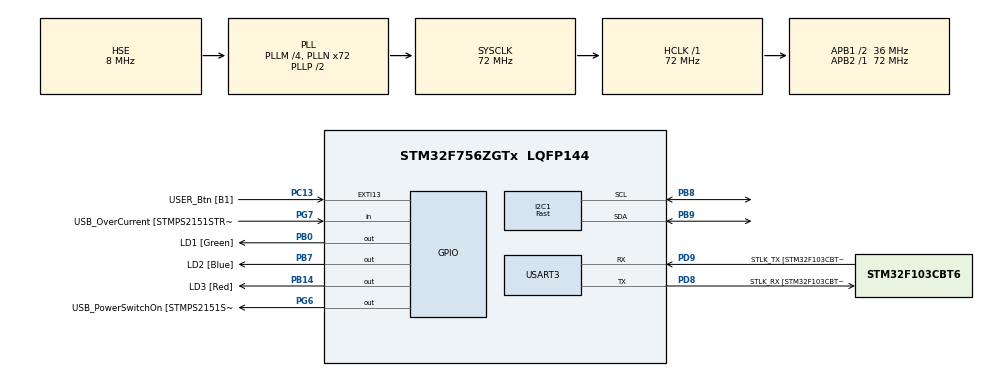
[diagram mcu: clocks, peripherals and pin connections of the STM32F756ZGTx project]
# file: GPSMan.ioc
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CORTEX_M7.default_mode_Activation=1
I2C1.Analog_Filter=I2C_ANALOGFILTER_ENABLE
I2C1.I2C_Speed_Mode=I2C_Fast
I2C1.OwnAddress=0x55
I2C1.Timing=0x00301739
Mcu.Family=STM32F7
Mcu.Name=STM32F756ZGTx
Mcu.Package=LQFP144
NVIC.I2C1_ER_IRQn=true\:0\:0\:false\:false\:true\:true\:true\:true
NVIC.I2C1_EV_IRQn=true\:0\:0\:false\:false\:true\:true\:true\:true
NVIC.PriorityGroup=NVIC_PRIORITYGROUP_4
PA1.GPIO_Label=RMII_REF_CLK [LAN8742A-CZ-TR_REFCLK0]
PA1.Signal=ETH_REF_CLK
PA10.GPIO_Label=USB_ID
PA10.Signal=USB_OTG_FS_ID
PA11.GPIO_Label=USB_DM
PA11.Signal=USB_OTG_FS_DM
PA12.GPIO_Label=USB_DP
PA12.Signal=USB_OTG_FS_DP
PA13.GPIO_Label=TMS
PA13.Mode=Serial_Wire
PA13.Signal=SYS_JTMS-SWDIO
PA14.GPIO_Label=TCK
PA14.Mode=Serial_Wire
PA14.Signal=SYS_JTCK-SWCLK
PA2.GPIO_Label=RMII_MDIO [LAN8742A-CZ-TR_MDIO]
PA2.Signal=ETH_MDIO
PA7.GPIO_Label=RMII_CRS_DV [LAN8742A-CZ-TR_CRS_DV]
PA7.Signal=ETH_CRS_DV
PA8.GPIO_Label=USB_SOF [TP1]
PA8.Signal=USB_OTG_FS_SOF
PA9.GPIO_Label=USB_VBUS
PA9.Signal=USB_OTG_FS_VBUS
PB0.GPIO_Label=LD1 [Green]
PB0.Signal=GPIO_Output
PB13.GPIO_Label=RMII_TXD1 [LAN8742A-CZ-TR_TXD1]
PB13.Signal=ETH_TXD1
PB14.GPIO_Label=LD3 [Red]
PB14.Signal=GPIO_Output
PB3.GPIO_Label=SW0
PB3.Signal=SYS_JTDO-SWO
PB7.GPIO_Label=LD2 [Blue]
PB7.Signal=GPIO_Output
PB8.GPIO_Pu=GPIO_PULLUP
PB8.GPIO_Speed=GPIO_SPEED_FREQ_VERY_HIGH
PB8.Mode=I2C
PB8.Signal=I2C1_SCL
PB9.GPIO_Pu=GPIO_PULLUP
PB9.GPIO_Speed=GPIO_SPEED_FREQ_VERY_HIGH
PB9.Mode=I2C
PB9.Signal=I2C1_SDA
PC1.GPIO_Label=RMII_MDC [LAN8742A-CZ-TR_MDC]
PC1.Signal=ETH_MDC
PC13.GPIO_Label=USER_Btn [B1]
PC13.Signal=GPXTI13
PC14/OSC32_IN.Mode=LSE-External-Oscillator
PC14/OSC32_IN.Signal=RCC_OSC32_IN
PC15/OSC32_OUT.Mode=LSE-External-Oscillator
PC15/OSC32_OUT.Signal=RCC_OSC32_OUT
PC4.GPIO_Label=RMII_RXD0 [LAN8742A-CZ-TR_RXD0]
PC4.Signal=ETH_RXD0
PC5.GPIO_Label=RMII_RXD1 [LAN8742A-CZ-TR_RXD1]
PC5.Signal=ETH_RXD1
PD8.GPIO_Label=STLK_RX [STM32F103CBT6_PA3]
PD8.Mode=Asynchronous
PD8.Signal=USART3_TX
PD9.GPIO_Label=STLK_TX [STM32F103CBT6_PA2]
PD9.Mode=Asynchronous
PD9.Signal=USART3_RX
PG11.GPIO_Label=RMII_TX_EN [LAN8742A-CZ-TR_TXEN]
PG11.Signal=ETH_TX_EN
PG13.GPIO_Label=RMII_TXD0 [LAN8742A-CZ-TR_TXD0]
PG13.Signal=ETH_TXD0
PG6.GPIO_Label=USB_PowerSwitchOn [STMPS2151STR_EN]
PG6.Signal=GPIO_Output
PG7.GPIO_Label=USB_OverCurrent [STMPS2151STR_FAULT]
PG7.Signal=GPIO_Input
PH0/OSC_IN.GPIO_Label=MCO [STM32F103CBT6_PA8]
PH0/OSC_IN.Mode=HSE-External-Clock-Source
PH0/OSC_IN.Signal=RCC_OSC_IN
PH1/OSC_OUT.Mode=HSE-External-Clock-Source
PH1/OSC_OUT.Signal=RCC_OSC_OUT
ProjectManager.HeapSize=0x200
ProjectManager.StackSize=0x400
ProjectManager.TargetToolchain=STM32CubeIDE
RCC.48MHZClocksFreq_Value=24000000
RCC.AHBFreq_Value=72000000
RCC.APB1CLKDivider=RCC_HCLK_DIV2
RCC.APB1Freq_Value=36000000
RCC.APB1TimFreq_Value=72000000
RCC.APB2Freq_Value=72000000
RCC.APB2TimFreq_Value=72000000
RCC.CortexFreq_Value=72000000
RCC.HCLKFreq_Value=72000000
RCC.HSE_VALUE=8000000
RCC.HSI_VALUE=16000000
RCC.PLLM=4
RCC.PLLMUL=RCC_PLL_MUL9
RCC.PLLN=72
RCC.PLLQ=3
RCC.PLLSourceVirtual=RCC_PLLSOURCE_HSE
RCC.PRESCALERUSB=RCC_USBCLKSOURCE_PLL_DIV1_5
RCC.RTCClockSelection=RCC_RTCCLKSOURCE_LSE
RCC.SYSCLKFreq_VALUE=72000000
RCC.SYSCLKSource=RCC_SYSCLKSOURCE_PLLCLK
RCC.SYSCLKSourceVirtual=RCC_SYSCLKSOURCE_PLLCLK
RCC.USBFreq_Value=48000000
RCC.VCOOutputFreq_Value=144000000
USART3.VirtualMode-Asynchronous=VM_ASYNC
VP_RTC_VS_RTC_Activate.Mode=RTC_Enabled
board=NUCLEO-F756ZG

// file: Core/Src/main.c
/* USER CODE BEGIN Header */
/**
  ******************************************************************************
  * @file           : main.c
  * @brief          : Main program body
  ******************************************************************************
  * @attention
  *
  * Copyright (c) 2026 STMicroelectronics.
  * All rights reserved.
  *
  * This software is licensed under terms that can be found in the LICENSE file
  * in the root directory of this software component.
  * If no LICENSE file comes with this software, it is provided AS-IS.
  *
  ******************************************************************************
  */
/* USER CODE END Header */
#include "main.h"
#include "i2c.h"
#include "rtc.h"
#include "usart.h"
#include "gpio.h"

/* USER CODE BEGIN Includes */
#include <math.h>
#include "CommonData.h"
#include "ParkingsData.h"
/* USER CODE END Includes */

/* USER CODE BEGIN PD */
#define WORKING_I2C hi2c1
/* USER CODE END PD */

/* USER CODE BEGIN PV */
volatile bool GenerationEmabled = true;
volatile uint32_t LastI2CAccessTick = 0;
volatile bool I2CAccessing = false;
/* USER CODE END PV */

void SystemClock_Config(void);
static void MPU_Config(void);
/* USER CODE BEGIN PFP */
void DoCordsRegeneration();
void DoI2CWatchDog();

/* USER CODE END PFP */

/* USER CODE BEGIN 0 */
/*----------------------------------------------------------------------------------------------------------------------*/
/*  Is used for sending characters to the required UART port (huart3) while calling the standard output functions       */
/*  as "printf()", "putch()" or "puts()".                                                                               */
int _write(int file, char *ptr, int len)
 {
  HAL_UART_Transmit(&huart3, (uint8_t*)ptr, len - 1, HAL_MAX_DELAY);
  if (ptr[len - 1] == '\n')
   {
    HAL_UART_Transmit(&huart3, (uint8_t*)"\r\n", 2, HAL_MAX_DELAY);
   }
  else
   {
    HAL_UART_Transmit(&huart3, (uint8_t*)ptr + len - 1, 1, HAL_MAX_DELAY);
   }
return len;
}

/* USER CODE END 0 */

int main(void)
{

  /* MPU Configuration--------------------------------------------------------*/
  MPU_Config();

  /* MCU Configuration--------------------------------------------------------*/

  /* Reset of all peripherals, Initializes the Flash interface and the Systick. */
  HAL_Init();

  /* Configure the system clock */
  SystemClock_Config();

  /* Initialize all configured peripherals */
  MX_GPIO_Init();
  MX_I2C1_Init();
  MX_USART3_UART_Init();
  MX_RTC_Init();
  /* USER CODE BEGIN 2 */
  RTC_TimeTypeDef sTime;
  RTC_DateTypeDef sDate;
  HAL_RTC_GetTime(&hrtc, &sTime, RTC_FORMAT_BIN);
  HAL_RTC_GetDate(&hrtc, &sDate, RTC_FORMAT_BIN);

//  sDate.Year;
//  sDate.Month;
//  sDate.Date;
//  sDate.WeekDay;
//
//  sTime.Hours;
//  sTime.Minutes;
//  sTime.Seconds;
//  sTime.SubSeconds;
//  sTime.SecondFraction;
//  sTime.DayLightSaving;
//  sTime.StoreOperation;
//  sTime.TimeFormat;

  volatile double StartRandVal_d = 0;
  volatile uint32_t StartRandVal = 0;
  StartRandVal_d = (((sDate.Year * 365.25 + sDate.Month * 30.498 + sDate.Date) * 24 + (sTime.Hours * 3600 + sTime.Minutes * 60 + sTime.Seconds)) * (sDate.WeekDay + sTime.SubSeconds + sTime.SecondFraction + sTime.DayLightSaving + sTime.StoreOperation + sTime.TimeFormat));
  StartRandVal = (uint32_t)fmod(StartRandVal_d, 0xFFFFFFFF);  /* fmod() is required to prevent overrange custing that gives to the interger the 0xFFFFFFFF value. */
//  srand(HAL_GetTick());
  srand(StartRandVal);
  printf("Starting GPS Manager...\n\r");
  HAL_I2C_EnableListen_IT(&WORKING_I2C);

  /* USER CODE END 2 */

  /* Infinite loop */
  /* USER CODE BEGIN WHILE */
  while (1)
  {
   DoCordsRegeneration();
   DoI2CWatchDog();

    /* USER CODE END WHILE */

    /* USER CODE BEGIN 3 */
   HAL_Delay(1);
  }
  /* USER CODE END 3 */
}

void SystemClock_Config(void)
{
  RCC_OscInitTypeDef RCC_OscInitStruct = {0};
  RCC_ClkInitTypeDef RCC_ClkInitStruct = {0};

  /** Configure LSE Drive Capability
  */
  HAL_PWR_EnableBkUpAccess();
  __HAL_RCC_LSEDRIVE_CONFIG(RCC_LSEDRIVE_LOW);

  /** Configure the main internal regulator output voltage
  */
  __HAL_RCC_PWR_CLK_ENABLE();
  __HAL_PWR_VOLTAGESCALING_CONFIG(PWR_REGULATOR_VOLTAGE_SCALE3);

  /** Initializes the RCC Oscillators according to the specified parameters
  * in the RCC_OscInitTypeDef structure.
  */
  RCC_OscInitStruct.OscillatorType = RCC_OSCILLATORTYPE_HSE|RCC_OSCILLATORTYPE_LSE;
  RCC_OscInitStruct.HSEState = RCC_HSE_BYPASS;
  RCC_OscInitStruct.LSEState = RCC_LSE_ON;
  RCC_OscInitStruct.PLL.PLLState = RCC_PLL_ON;
  RCC_OscInitStruct.PLL.PLLSource = RCC_PLLSOURCE_HSE;
  RCC_OscInitStruct.PLL.PLLM = 4;
  RCC_OscInitStruct.PLL.PLLN = 72;
  RCC_OscInitStruct.PLL.PLLP = RCC_PLLP_DIV2;
  RCC_OscInitStruct.PLL.PLLQ = 3;
  if (HAL_RCC_OscConfig(&RCC_OscInitStruct) != HAL_OK)
  {
    Error_Handler();
  }

  /** Initializes the CPU, AHB and APB buses clocks
  */
  RCC_ClkInitStruct.ClockType = RCC_CLOCKTYPE_HCLK|RCC_CLOCKTYPE_SYSCLK
                              |RCC_CLOCKTYPE_PCLK1|RCC_CLOCKTYPE_PCLK2;
  RCC_ClkInitStruct.SYSCLKSource = RCC_SYSCLKSOURCE_PLLCLK;
  RCC_ClkInitStruct.AHBCLKDivider = RCC_SYSCLK_DIV1;
  RCC_ClkInitStruct.APB1CLKDivider = RCC_HCLK_DIV2;
  RCC_ClkInitStruct.APB2CLKDivider = RCC_HCLK_DIV1;

  if (HAL_RCC_ClockConfig(&RCC_ClkInitStruct, FLASH_LATENCY_2) != HAL_OK)
  {
    Error_Handler();
  }
}

/* USER CODE BEGIN 4 */

/*----------------------------------------------------------------------------------------------------------------------*/
/* Runs at the finishing of access from master.                                                                         */
void HAL_I2C_ListenCpltCallback(I2C_HandleTypeDef *hi2c)
 {
  uint8_t TransferDirection;
  HAL_I2C_EnableListen_IT(hi2c);
  TransferDirection = I2C_GET_DIR(hi2c);
  if(TransferDirection == I2C_DIRECTION_RECEIVE)  /* BeagleBone ◀▬▬▬ STM32 */
   {
    /* After transmitting data. */
    HAL_I2C_SlaveTxCpltCallback(hi2c);
   }
  else          /* Transmit  */                   /* BeagleBone ▬▬▬▶ STM32 */
   {
    /* After receiving data. */
    HAL_I2C_SlaveRxCpltCallback(hi2c);
   }
 }

/*----------------------------------------------------------------------------------------------------------------------*/
/* Runs on request access from master.                                                                                  */
void HAL_I2C_AddrCallback(I2C_HandleTypeDef *hi2c, uint8_t TransferDirection, uint16_t AddrMatchCode)
 {

  if( hi2c == &WORKING_I2C )
   {
    LastI2CAccessTick = HAL_GetTick();
    I2CAccessing = true;
    if(TransferDirection == I2C_DIRECTION_RECEIVE)  /* BeagleBone ◀▬▬▬ STM32 */
     {
      static int ParkPlace;
      static ParkingData_s Parking;
      if(GenerationEmabled)
       {
        GenerationEmabled = false;
        GetRandParking(&ParkPlace, &Parking);
       }
      __disable_irq();
      HAL_I2C_Slave_Seq_Transmit_IT(&WORKING_I2C, (uint8_t *)&Parking, sizeof(Parking), I2C_NEXT_FRAME);
      __enable_irq();
     }
    else        /* Transmit  */                     /* BeagleBone ▬▬▬▶ STM32 */
     {
      uint8_t buf[100];
      __disable_irq();
      HAL_I2C_Slave_Seq_Receive_IT(hi2c, buf, sizeof(buf), I2C_NEXT_FRAME);
      __enable_irq();
      UNUSED(buf);
     }

   }
 }

/*----------------------------------------------------------------------------------------------------------------------*/
/* Runs from HAL_I2C_ListenCpltCallback() on reading by the master device. Master ◀▬▬▬ Slave */
void HAL_I2C_SlaveTxCpltCallback(I2C_HandleTypeDef *hi2c)  /* BeagleBone ◀▬▬▬ STM32 */
 {
  GenerationEmabled = true;
  LastI2CAccessTick = HAL_GetTick();
  I2CAccessing = false;
 }

/*----------------------------------------------------------------------------------------------------------------------*/
/* Runs from HAL_I2C_ListenCpltCallback() on writing by master device. Master ▬▬▬▶ Slave */
void HAL_I2C_SlaveRxCpltCallback(I2C_HandleTypeDef *hi2c)  /* BeagleBone ▬▬▬▶ STM32 */
 {
  LastI2CAccessTick = HAL_GetTick();
  I2CAccessing = false;
 }

/*----------------------------------------------------------------------------------------------------------------------*/
/* Regenerates the random coordinates.                                                                                  */
void DoCordsRegeneration()
 {
  int ParkPlace;
  ParkingData_s Parking;

  static uint32_t LastTick = 0;
  uint32_t CurrentTick = HAL_GetTick();
  if(CurrentTick - LastTick > 1000)
   {
    if(GenerationEmabled)
     {
      char buf[200];
      GenRandParkNumber();
      GetRandParking(&ParkPlace, &Parking);
      CreateCordsFormatted(buf, sizeof(buf), Parking.ParkingCords, true);
      printf("%5d: %s\n\r",ParkPlace, buf);
 //     printf("%5d: ",ParkPlace);
 //     PrintGPSCords(Parking.ParkingCords);
 //     printf("\n\r");
     }
    LastTick = CurrentTick;
   }
 }

/*----------------------------------------------------------------------------------------------------------------------*/
/* Checks if the I2C wasn't freezed for a too long time periode and if the SCL state is freezed - restarts the I2C.     */
void DoI2CWatchDog()
 {
  static uint32_t LastTick = 0;
  uint32_t CurrentTick = HAL_GetTick();
  if(CurrentTick - LastTick > 1)
   {
    GPIO_PinState SCL_PinsState = GPIO_PIN_SET;
    //GPIO_PinState SDL_PinsState = GPIO_PIN_RESET;
    SCL_PinsState = HAL_GPIO_ReadPin(GPIOB, GPIO_PIN_8);
    //SDL_PinsState = HAL_GPIO_ReadPin(GPIOB, GPIO_PIN_9);

    if(SCL_PinsState == GPIO_PIN_SET)
     LastI2CAccessTick = CurrentTick;

    if(!I2CAccessing)
     {
      if(CurrentTick - LastI2CAccessTick > 50)
       {
        if((uint32_t)WORKING_I2C.Instance == (uint32_t)hi2c1.Instance)
         {
          if((SCL_PinsState == GPIO_PIN_RESET))  /* Restarting I2C Bus. */
           {
            HAL_I2C_DeInit(&WORKING_I2C);
            HAL_Delay(2);
            MX_I2C1_Init();
            HAL_I2C_EnableListen_IT(&WORKING_I2C);
           }
         }
        LastI2CAccessTick = CurrentTick;
       }
     }
    else
     {
    	LastI2CAccessTick = CurrentTick;
     }
    LastTick = CurrentTick;
   }

 }

/* USER CODE END 4 */

 /* MPU Configuration */

void MPU_Config(void)
{
  MPU_Region_InitTypeDef MPU_InitStruct = {0};

  /* Disables the MPU */
  HAL_MPU_Disable();

  /** Initializes and configures the Region and the memory to be protected
  */
  MPU_InitStruct.Enable = MPU_REGION_ENABLE;
  MPU_InitStruct.Number = MPU_REGION_NUMBER0;
  MPU_InitStruct.BaseAddress = 0x0;
  MPU_InitStruct.Size = MPU_REGION_SIZE_4GB;
  MPU_InitStruct.SubRegionDisable = 0x87;
  MPU_InitStruct.TypeExtField = MPU_TEX_LEVEL0;
  MPU_InitStruct.AccessPermission = MPU_REGION_NO_ACCESS;
  MPU_InitStruct.DisableExec = MPU_INSTRUCTION_ACCESS_DISABLE;
  MPU_InitStruct.IsShareable = MPU_ACCESS_SHAREABLE;
  MPU_InitStruct.IsCacheable = MPU_ACCESS_NOT_CACHEABLE;
  MPU_InitStruct.IsBufferable = MPU_ACCESS_NOT_BUFFERABLE;

  HAL_MPU_ConfigRegion(&MPU_InitStruct);
  /* Enables the MPU */
  HAL_MPU_Enable(MPU_PRIVILEGED_DEFAULT);

}

void Error_Handler(void)
{
  __disable_irq();
  while (1)
  {
  }
}
